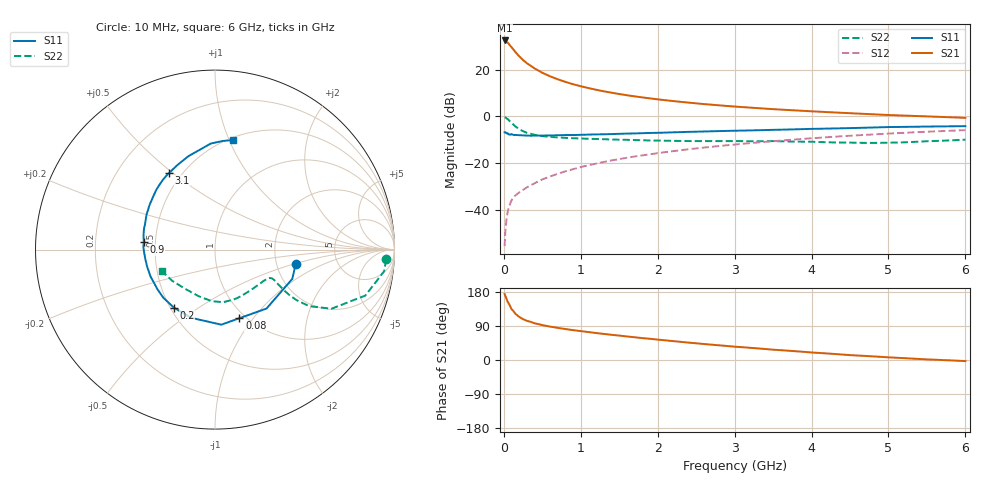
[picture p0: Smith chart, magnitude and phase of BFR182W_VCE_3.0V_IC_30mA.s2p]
! (c) 2017  Infineon Technologies AG, Munich
! Infineon Technologies  Discrete & RF Semiconductors
! BFR182W
! VCE =  3.0 V,  IC =  30 mA
! Common Emitter S-Parameters:  Jan 2017
# GHz  S  MA  R  50
!  f  S11  S21  S12  S22
! GHz  MAG  ANG  MAG  ANG  MAG  ANG  MAG  ANG
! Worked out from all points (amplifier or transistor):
!   77 points, 10 MHz to 6 GHz, reference 50 ohm
!   highest |S21| = 32.4 dB at 10 MHz (marker M1)
!   |S21| within 3 dB of that: start of sweep to 103.5 MHz
!   unconditionally stable (mu >= 1): 534.8 MHz to 2.296 GHz
!   at 130 MHz: K = 0.53, MSG = 31.4 dB, |S12| = -34.5 dB
!   at 2.2 GHz: K = 1.01, MAG = 10.1 dB, |S12| = -14.8 dB
!   at 6 GHz: K = 0.87, MSG = 2.6 dB, |S12| = -5.9 dB
!   S11 on the Smith chart (normalised r, x): 10 MHz: 2.55, -0.53; 80 MHz: 0.94, -0.86; 200 MHz: 0.52, -0.40; 900 MHz: 0.43, +0.04; 3.1 GHz: 0.43, +0.48; 6 GHz: 0.52, +1.03
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0.01  0.4566 -10.4  41.68 174.1  0.0017 90.8  0.9559 -3.3
0.02  0.4606 -20.7  41.53 168.8  0.0036 86.7  0.9497 -7.3
0.05  0.4362 -48.8  37.71 153.4  0.0092 74.0  0.8758 -17.0
0.08  0.4057 -70.4  32.62 143.0  0.0134 68.1  0.7843 -22.5
0.1  0.4197 -85.2  29.99 134.3  0.0162 65.9  0.7282 -26.9
0.15  0.4024 -109.1  23.64 122.0  0.0205 62.4  0.6108 -31.0
0.2  0.3964 -125.2  19.11 113.7  0.0238 63.1  0.534 -31.8
0.25  0.3934 -137.1  15.95 107.7  0.0269 63.8  0.4825 -31.4
0.3  0.3894 -145.4  13.59 103.4  0.0306 65.1  0.4463 -30.5
0.4  0.3891 -157.4  10.51 96.8  0.0374 67.8  0.4046 -28.9
0.5  0.3898 -165.6  8.514 92.1  0.0452 69.2  0.3803 -27.6
0.6  0.3919 -172.4  7.173 88.2  0.0522 70.7  0.3654 -27.0
0.7  0.395 -177.4  6.186 84.8  0.0595 72.0  0.3555 -26.8
0.9  0.3992 173.7  4.852 78.8  0.0746 72.2  0.342 -27.6
1.1  0.4085 166.5  4.016 73.8  0.0908 72.6  0.333 -29.3
1.3  0.4145 160.3  3.425 68.8  0.1066 72.2  0.3257 -31.7
1.5  0.4243 154.8  2.997 64.4  0.1225 71.9  0.318 -34.8
2.1  0.4508 140.6  2.214 51.9  0.1726 68.6  0.3022 -47.1
3.1  0.4976 121.0  1.579 33.8  0.2594 60.8  0.296 -71.8
4.1  0.5446 104.4  1.259 18.6  0.3498 51.5  0.2837 -96.6
5.1  0.594 90.9  1.054 6.0  0.4372 40.9  0.2765 -130.5
6  0.6187 80.6  0.93 -2.9  0.5088 31.0  0.3186 -157.6
